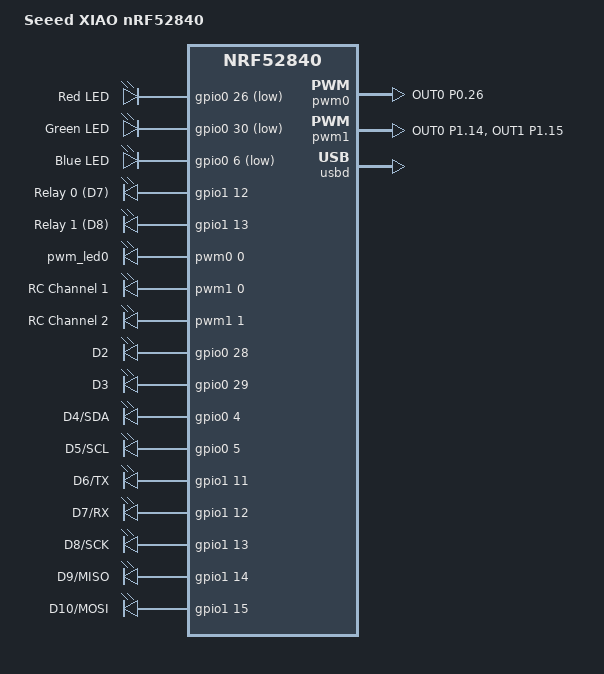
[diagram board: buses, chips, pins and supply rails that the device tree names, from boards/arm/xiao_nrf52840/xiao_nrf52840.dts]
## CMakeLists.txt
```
cmake_minimum_required(VERSION 3.20)

# Board can be set via -b flag or defaults to DK
if(NOT DEFINED BOARD)
    set(BOARD nrf52840dk_nrf52840)
endif()

# Base config + board-specific config if it exists
set(CONF_FILE "prj.conf")
if(EXISTS "${CMAKE_CURRENT_SOURCE_DIR}/boards/${BOARD}.conf")
    set(CONF_FILE "${CONF_FILE};boards/${BOARD}.conf")
endif()

set(DTC_OVERLAY_FILE "app.overlay")

find_package(Zephyr REQUIRED HINTS $ENV{ZEPHYR_BASE})
project(brewer-ble-hid-bridge VERSION 1.0.0)

# Get git hash for build identification
execute_process(
    COMMAND git rev-parse --short HEAD
    WORKING_DIRECTORY ${CMAKE_SOURCE_DIR}
    OUTPUT_VARIABLE GIT_HASH
    OUTPUT_STRIP_TRAILING_WHITESPACE
    ERROR_QUIET
)
if(NOT GIT_HASH)
    set(GIT_HASH "unknown")
endif()

# Build timestamp
string(TIMESTAMP BUILD_TIME "%Y-%m-%d %H:%M")

# Pass version info to compiler
target_compile_definitions(app PRIVATE
    APP_VERSION="${PROJECT_VERSION}"
    APP_GIT_HASH="${GIT_HASH}"
    APP_BUILD_TIME="${BUILD_TIME}"
)

target_sources(app PRIVATE
    src/main.c
    src/device_mode.c
    src/ble_hid_service.c
    src/hid_keyboard.c
    src/hid_mouse.c
    src/hid_consumer.c
    src/protocol.c
    src/security.c
    src/config.c
    src/gpio_control.c
    src/jsonl_serial.c
    src/mesh_hid.c
)

zephyr_library_include_directories(inc)
```

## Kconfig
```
# HID-HOP Application Kconfig

menu "HID-HOP Configuration"

config DEBUG_BOOT_BLINKS
	bool "Enable debug LED blinks during boot"
	default n
	help
	  Enable LED blink sequence during boot to help diagnose
	  which init stage is crashing. Adds ~10 seconds to boot time.

	  Blink pattern:
	  1 blink = PRE_KERNEL_1
	  2 blinks = PRE_KERNEL_2
	  3 blinks = POST_KERNEL
	  4 blinks = APPLICATION
	  5 blinks = main() reached

endmenu

source "Kconfig.zephyr"
```

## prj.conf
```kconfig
#
# Brewer BLE HID Bridge - Project Configuration
#

# ==========================================
# Serial Configuration - board specific
# ==========================================
# UART disabled by default (dongles have no UART)
# Add board overlay to enable for dev boards with J-Link

# ==========================================
# USB CDC ACM Serial Port (JSONL messaging)
# ==========================================
CONFIG_USB_CDC_ACM=y
CONFIG_UART_LINE_CTRL=y
CONFIG_UART_INTERRUPT_DRIVEN=y
CONFIG_RING_BUFFER=y

# ==========================================
# GPIO Configuration
# ==========================================
CONFIG_GPIO=y
CONFIG_INPUT=y
CONFIG_DK_LIBRARY=y

# ==========================================
# ADC Configuration (for analog inputs) - DISABLED for now
# ==========================================
CONFIG_ADC=n
# CONFIG_ADC_NRFX_SAADC=y

# ==========================================
# Memory Configuration
# ==========================================
CONFIG_HEAP_MEM_POOL_SIZE=16384
CONFIG_MAIN_STACK_SIZE=4096
CONFIG_SYSTEM_WORKQUEUE_STACK_SIZE=2048

# Mesh requires more connections for proxy
CONFIG_BT_MAX_CONN=2

# ==========================================
# Bluetooth Configuration
# ==========================================
CONFIG_BT=y
CONFIG_BT_PERIPHERAL=y
CONFIG_BT_OBSERVER=y
CONFIG_BT_DEVICE_NAME="HID-HOP"
CONFIG_BT_DEVICE_APPEARANCE=961
CONFIG_BT_MAX_PAIRED=3

# BLE Security - TEMPORARILY RELAXED for debugging
# TODO: Re-enable these after debugging:
# CONFIG_BT_BONDING_REQUIRED=y
# CONFIG_BT_SMP_SC_ONLY=y
CONFIG_BT_SMP=y
CONFIG_BT_BONDABLE=y
CONFIG_BT_BONDING_REQUIRED=n
CONFIG_BT_SMP_SC_ONLY=n
CONFIG_BT_FIXED_PASSKEY=n
CONFIG_BT_DEBUG_SMP=y

# BLE Settings/Storage for bonding
CONFIG_BT_SETTINGS=y
CONFIG_FLASH=y
CONFIG_FLASH_PAGE_LAYOUT=y
CONFIG_FLASH_MAP=y
CONFIG_NVS=y
CONFIG_SETTINGS=y

# GATT Configuration
CONFIG_BT_GATT_DYNAMIC_DB=y
CONFIG_BT_ATT_PREPARE_COUNT=2

# ==========================================
# BLE Mesh Configuration
# ==========================================
CONFIG_BT_MESH=y
CONFIG_BT_MESH_RELAY=y
CONFIG_BT_MESH_PB_ADV=y
CONFIG_BT_MESH_PROVISIONER=y
CONFIG_BT_MESH_GATT_PROXY=y
CONFIG_BT_MESH_PB_GATT=y

# Mesh advertising/transmit settings
CONFIG_BT_MESH_ADV_BUF_COUNT=16
CONFIG_BT_MESH_LOOPBACK_BUFS=8
CONFIG_BT_MESH_RELAY_BUF_COUNT=16
CONFIG_BT_MESH_TX_SEG_MAX=6
CONFIG_BT_MESH_RX_SEG_MAX=6
CONFIG_BT_MESH_RX_SEG_MSG_COUNT=2
CONFIG_BT_MESH_NETWORK_TRANSMIT_COUNT=3
CONFIG_BT_MESH_NETWORK_TRANSMIT_INTERVAL=20

# Mesh crypto - explicitly use TinyCrypt
CONFIG_BT_MESH_USES_TINYCRYPT=y

# Config Client for self-provisioning
CONFIG_BT_MESH_CFG_CLI=y
CONFIG_BT_MESH_CFG_CLI_TIMEOUT=2000

# Model key binding count
CONFIG_BT_MESH_MODEL_KEY_COUNT=1
CONFIG_BT_MESH_MODEL_GROUP_COUNT=1

# ==========================================
# USB HID Configuration
# ==========================================
CONFIG_USB_DEVICE_STACK=y
CONFIG_USB_DEVICE_HID=y
CONFIG_USB_HID_DEVICE_COUNT=3
CONFIG_USB_DEVICE_PRODUCT="HID-HOP"
CONFIG_USB_DEVICE_MANUFACTURER="HID-HOP"
CONFIG_USB_DEVICE_VID=0x1915
CONFIG_USB_DEVICE_PID=0x520F
CONFIG_USB_DEVICE_INITIALIZE_AT_BOOT=n
CONFIG_USB_DEVICE_REMOTE_WAKEUP=y

# Enable HID output reports (for keyboard LED state from host)
CONFIG_ENABLE_HID_INT_OUT_EP=y

# Enable boot protocol - required for reliable LED state from macOS/Windows
# Sets bInterfaceSubClass=1 for boot keyboard compatibility
CONFIG_USB_HID_BOOT_PROTOCOL=y

# ==========================================
# Crypto Configuration (E2E Encryption)
# ==========================================
CONFIG_ENTROPY_GENERATOR=y
CONFIG_ENTROPY_DEVICE_RANDOM_GENERATOR=y

# TinyCrypt for E2E encryption (AES-128-CCM)
CONFIG_TINYCRYPT=y
CONFIG_TINYCRYPT_AES=y
CONFIG_TINYCRYPT_AES_CCM=y
CONFIG_TINYCRYPT_SHA256=y

# ==========================================
# Logging Configuration
# ==========================================
CONFIG_LOG=y
CONFIG_LOG_DEFAULT_LEVEL=3
CONFIG_USE_SEGGER_RTT=y
CONFIG_LOG_BACKEND_RTT=y
CONFIG_LOG_PRINTK=y
CONFIG_USB_DRIVER_LOG_LEVEL_WRN=y
CONFIG_USB_DEVICE_LOG_LEVEL_WRN=y

# ==========================================
# Debug Configuration
# ==========================================
CONFIG_ASSERT=y
CONFIG_DEBUG_OPTIMIZATIONS=n

# ==========================================
# BLE Mesh Debug Logging (TEMPORARY)
# ==========================================
CONFIG_BT_MESH_DEBUG_NET=y
CONFIG_BT_MESH_DEBUG_TRANS=y
CONFIG_BT_MESH_DEBUG_ACCESS=y
CONFIG_BT_MESH_DEBUG_MODEL=y
CONFIG_BT_MESH_DEBUG_ADV=y
```

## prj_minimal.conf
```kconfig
# Minimal config - just boot and blink
CONFIG_GPIO=y
CONFIG_LOG=n
CONFIG_SERIAL=n
CONFIG_CONSOLE=n
CONFIG_UART_CONSOLE=n
CONFIG_BT=n
CONFIG_USB_DEVICE_STACK=n

# Bootloader settings
CONFIG_BOARD_HAS_NRF5_BOOTLOADER=y

# Use RC oscillator
CONFIG_CLOCK_CONTROL_NRF_K32SRC_RC=y
```

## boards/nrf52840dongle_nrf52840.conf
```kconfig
#
# Board-specific config for Raytac MDBT50Q-CX-40 dongle
#

# Disable console/UART (no physical UART on dongle)
CONFIG_CONSOLE=n
CONFIG_UART_CONSOLE=n
CONFIG_SERIAL=n
CONFIG_UART_ASYNC_API=n
CONFIG_UART_INTERRUPT_DRIVEN=n
CONFIG_NRFX_UARTE0=n

# Use RTT for logging
CONFIG_USE_SEGGER_RTT=y
CONFIG_LOG_BACKEND_RTT=y
CONFIG_LOG_BACKEND_UART=n
CONFIG_RTT_CONSOLE=n
CONFIG_LOG_PRINTK=y

# Bootloader settings for Open DFU
CONFIG_BOARD_HAS_NRF5_BOOTLOADER=y

# Use RC oscillator (more reliable on Raytac)
CONFIG_CLOCK_CONTROL_NRF_K32SRC_RC=y
```

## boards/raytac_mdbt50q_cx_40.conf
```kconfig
# Board-specific config for Raytac MDBT50Q-CX-40 dongle

# Enable SERIAL for USB CDC ACM (virtual UART over USB)
# No hardware UART pins exposed, but CDC ACM needs SERIAL subsystem
CONFIG_SERIAL=y

# Logging via RTT only (no hardware UART for logs)
CONFIG_LOG_BACKEND_UART=n

# Flash offset for Nordic Open DFU bootloader
CONFIG_FLASH_LOAD_OFFSET=0x1000

# Force internal RC oscillator (dongle has no external crystal)
CONFIG_CLOCK_CONTROL_NRF_K32SRC_RC=y

# Keep DK library for LED/button support
CONFIG_DK_LIBRARY=y
```

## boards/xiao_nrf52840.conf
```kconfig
# Board-specific config for Seeed XIAO nRF52840

# Enable SERIAL for USB CDC ACM (virtual UART over USB)
CONFIG_SERIAL=y

# Logging via RTT or CDC-ACM
CONFIG_LOG_BACKEND_UART=n

# Flash offset for Adafruit UF2 bootloader
CONFIG_FLASH_LOAD_OFFSET=0x27000

# XIAO has external 32kHz crystal - better accuracy than RC
CONFIG_CLOCK_CONTROL_NRF_K32SRC_XTAL=y

# Keep DK library for LED support
CONFIG_DK_LIBRARY=y

# PWM for RC servo/ESC outputs
CONFIG_PWM=y
```

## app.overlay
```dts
/*
 * HID-HOP - Device Tree Overlay
 *
 * Copyright (c) 2024
 * SPDX-License-Identifier: MIT
 */

/* Configure USB device controller with CDC ACM for debugging */
&zephyr_udc0 {
    cdc_acm_uart0 {
        compatible = "zephyr,cdc-acm-uart";
    };
};

/* Use the board's existing storage partition for NVS settings */
/ {
    chosen {
        zephyr,settings-partition = &storage_partition;
    };
};
```

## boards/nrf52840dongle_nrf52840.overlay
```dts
/*
 * Board overlay for Raytac MDBT50Q-CX-40 dongle
 * Keep it minimal - just disable what we don't need
 */

/* Disable UART - not available on dongle */
&uart0 {
    status = "disabled";
};

/* Disable CDC ACM since we're HID-only */
&zephyr_udc0 {
    cdc_acm_uart0: cdc_acm_uart0 {
        status = "disabled";
    };
};

/ {
    chosen {
        /delete-property/ zephyr,console;
        /delete-property/ zephyr,shell-uart;
        /delete-property/ zephyr,uart-mcumgr;
        /delete-property/ zephyr,bt-mon-uart;
        /delete-property/ zephyr,bt-c2h-uart;
    };
};
```

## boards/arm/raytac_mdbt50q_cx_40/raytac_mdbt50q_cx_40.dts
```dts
/dts-v1/;
#include <nordic/nrf52840_qiaa.dtsi>
#include <zephyr/dt-bindings/input/input-event-codes.h>

/ {
	model = "Raytac MDBT50Q-CX-40 USB Dongle";
	compatible = "raytac,mdbt50q-cx-40";

	chosen {
		zephyr,sram = &sram0;
		zephyr,flash = &flash0;
		zephyr,code-partition = &slot0_partition;
	};

	leds {
		compatible = "gpio-leds";
		led0: led_0 {
			gpios = <&gpio0 6 GPIO_ACTIVE_LOW>;
			label = "Blue LED 1";
		};
		led1: led_1 {
			gpios = <&gpio0 8 GPIO_ACTIVE_LOW>;
			label = "Blue LED 2";
		};
	};

	aliases {
		led0 = &led0;
		led1 = &led1;
		led2 = &led0;  /* DK library expects 4 LEDs, map to existing */
		led3 = &led1;
		sw0 = &button0;
	};

	buttons {
		compatible = "gpio-keys";
		button0: button_0 {
			gpios = <&gpio0 18 (GPIO_PULL_UP | GPIO_ACTIVE_LOW)>;
			label = "User button";
			zephyr,code = <INPUT_KEY_0>;
		};
	};
};

&flash0 {
	partitions {
		compatible = "fixed-partitions";
		#address-cells = <1>;
		#size-cells = <1>;

		/* Nordic Open DFU bootloader at 0x0-0x1000 */
		boot_partition: partition@0 {
			label = "bootloader";
			reg = <0x00000000 0x00001000>;
		};
		slot0_partition: partition@1000 {
			label = "image-0";
			reg = <0x00001000 0x000df000>;
		};
		/* Raw flash for boot-critical config (CRC32 validated) */
		config_partition: partition@e0000 {
			label = "config";
			reg = <0x000e0000 0x00001000>;
		};
		/* NVS for BLE bonding, settings, etc. */
		storage_partition: partition@e1000 {
			label = "storage";
			reg = <0x000e1000 0x0001f000>;
		};
	};
};

&gpio0 {
	status = "okay";
};

&gpio1 {
	status = "okay";
};

&gpiote {
	status = "okay";
};

zephyr_udc0: &usbd {
	compatible = "nordic,nrf-usbd";
	status = "okay";
};
```

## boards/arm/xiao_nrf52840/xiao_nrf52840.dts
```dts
/dts-v1/;
#include <nordic/nrf52840_qiaa.dtsi>
#include <zephyr/dt-bindings/input/input-event-codes.h>

/ {
	model = "Seeed XIAO nRF52840";
	compatible = "seeed,xiao-nrf52840";

	chosen {
		zephyr,sram = &sram0;
		zephyr,flash = &flash0;
		zephyr,code-partition = &slot0_partition;
		zephyr,console = &cdc_acm_uart;
	};

	leds {
		compatible = "gpio-leds";
		led0: led_0 {
			gpios = <&gpio0 26 GPIO_ACTIVE_LOW>;
			label = "Red LED";
		};
		led1: led_1 {
			gpios = <&gpio0 30 GPIO_ACTIVE_LOW>;
			label = "Green LED";
		};
		led2: led_2 {
			gpios = <&gpio0 6 GPIO_ACTIVE_LOW>;
			label = "Blue LED";
		};
	};

	aliases {
		led0 = &led0;
		led1 = &led1;
		led2 = &led2;
		led3 = &led0;  /* DK library expects 4 LEDs */
		pwm-led0 = &pwm_led0;
		relay0 = &relay_d7;
		relay1 = &relay_d8;
	};

	/* Relay outputs on D7 and D8 */
	relays {
		compatible = "gpio-leds";
		relay_d7: relay_0 {
			gpios = <&gpio1 12 GPIO_ACTIVE_HIGH>;
			label = "Relay 0 (D7)";
		};
		relay_d8: relay_1 {
			gpios = <&gpio1 13 GPIO_ACTIVE_HIGH>;
			label = "Relay 1 (D8)";
		};
	};

	/* PWM LEDs for testing PWM functionality */
	pwmleds {
		compatible = "pwm-leds";
		pwm_led0: pwm_led_0 {
			pwms = <&pwm0 0 PWM_MSEC(20) PWM_POLARITY_INVERTED>;
		};
	};

	/* RC Servo/ESC PWM outputs - directly on GPIO pins */
	rc_outputs {
		compatible = "pwm-leds";
		/* RC Channel 1 - D9/MISO (P1.14) */
		rc_ch1: rc_channel_1 {
			pwms = <&pwm1 0 PWM_MSEC(20) PWM_POLARITY_NORMAL>;
			label = "RC Channel 1";
		};
		/* RC Channel 2 - D10/MOSI (P1.15) */
		rc_ch2: rc_channel_2 {
			pwms = <&pwm1 1 PWM_MSEC(20) PWM_POLARITY_NORMAL>;
			label = "RC Channel 2";
		};
	};

	/* GPIO header - directly accessible pins */
	gpio_header: gpio_header {
		compatible = "gpio-leds";  /* Just for easy control */
		/* D2/A2 (P0.28) */
		gpio_d2: gpio_d2 {
			gpios = <&gpio0 28 GPIO_ACTIVE_HIGH>;
			label = "D2";
		};
		/* D3/A3 (P0.29) */
		gpio_d3: gpio_d3 {
			gpios = <&gpio0 29 GPIO_ACTIVE_HIGH>;
			label = "D3";
		};
		/* D4/SDA (P0.04) */
		gpio_d4: gpio_d4 {
			gpios = <&gpio0 4 GPIO_ACTIVE_HIGH>;
			label = "D4/SDA";
		};
		/* D5/SCL (P0.05) */
		gpio_d5: gpio_d5 {
			gpios = <&gpio0 5 GPIO_ACTIVE_HIGH>;
			label = "D5/SCL";
		};
		/* D6/TX (P1.11) */
		gpio_d6: gpio_d6 {
			gpios = <&gpio1 11 GPIO_ACTIVE_HIGH>;
			label = "D6/TX";
		};
		/* D7/RX (P1.12) */
		gpio_d7: gpio_d7 {
			gpios = <&gpio1 12 GPIO_ACTIVE_HIGH>;
			label = "D7/RX";
		};
		/* D8/SCK (P1.13) */
		gpio_d8: gpio_d8 {
			gpios = <&gpio1 13 GPIO_ACTIVE_HIGH>;
			label = "D8/SCK";
		};
		/* D9/MISO (P1.14) */
		gpio_d9: gpio_d9 {
			gpios = <&gpio1 14 GPIO_ACTIVE_HIGH>;
			label = "D9/MISO";
		};
		/* D10/MOSI (P1.15) */
		gpio_d10: gpio_d10 {
			gpios = <&gpio1 15 GPIO_ACTIVE_HIGH>;
			label = "D10/MOSI";
		};
	};
};

&flash0 {
	partitions {
		compatible = "fixed-partitions";
		#address-cells = <1>;
		#size-cells = <1>;

		/* UF2 bootloader (Adafruit) at 0x0-0x27000 */
		boot_partition: partition@0 {
			label = "bootloader";
			reg = <0x00000000 0x00027000>;
			read-only;
		};
		/* Application starts after bootloader */
		slot0_partition: partition@27000 {
			label = "image-0";
			reg = <0x00027000 0x000b3000>;
		};
		/* Config partition for HID-HOP settings */
		config_partition: partition@da000 {
			label = "config";
			reg = <0x000da000 0x00001000>;
		};
		/* NVS storage for BLE bonding etc */
		storage_partition: partition@db000 {
			label = "storage";
			reg = <0x000db000 0x00025000>;
		};
	};
};

&gpio0 {
	status = "okay";
};

&gpio1 {
	status = "okay";
};

&gpiote {
	status = "okay";
};

/* PWM0 - for LED control */
&pwm0 {
	status = "okay";
	pinctrl-0 = <&pwm0_default>;
	pinctrl-1 = <&pwm0_sleep>;
	pinctrl-names = "default", "sleep";
};

/* PWM1 - for RC servo/ESC outputs on D0 and D1 */
&pwm1 {
	status = "okay";
	pinctrl-0 = <&pwm1_default>;
	pinctrl-1 = <&pwm1_sleep>;
	pinctrl-names = "default", "sleep";
};

&pinctrl {
	pwm0_default: pwm0_default {
		group1 {
			psels = <NRF_PSEL(PWM_OUT0, 0, 26)>;  /* Red LED */
		};
	};
	pwm0_sleep: pwm0_sleep {
		group1 {
			psels = <NRF_PSEL(PWM_OUT0, 0, 26)>;
			low-power-enable;
		};
	};
	pwm1_default: pwm1_default {
		group1 {
			psels = <NRF_PSEL(PWM_OUT0, 1, 14)>,  /* D9/MISO - RC CH1 */
			        <NRF_PSEL(PWM_OUT1, 1, 15)>;  /* D10/MOSI - RC CH2 */
		};
	};
	pwm1_sleep: pwm1_sleep {
		group1 {
			psels = <NRF_PSEL(PWM_OUT0, 1, 14)>,
			        <NRF_PSEL(PWM_OUT1, 1, 15)>;
			low-power-enable;
		};
	};
};

zephyr_udc0: &usbd {
	compatible = "nordic,nrf-usbd";
	status = "okay";
	cdc_acm_uart: cdc_acm_uart {
		compatible = "zephyr,cdc-acm-uart";
	};
};
```

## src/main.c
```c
/*
 * Brewer BLE HID Bridge - Main Entry Point
 *
 * This firmware bridges BLE commands from an iOS app to USB HID
 * keyboard/mouse events on a connected PC.
 */

#include <zephyr/kernel.h>
#include <zephyr/init.h>
#include <zephyr/sys/reboot.h>

/*
 * Debug boot LED blinks - helps identify which init stage crashes.
 * DISABLED by default (adds ~10+ seconds to boot time).
 * To enable: add CONFIG_DEBUG_BOOT_BLINKS=y to prj.conf
 */
#ifdef CONFIG_DEBUG_BOOT_BLINKS
#define P0_OUTSET    (*(volatile uint32_t *)0x50000508)
#define P0_OUTCLR    (*(volatile uint32_t *)0x5000050C)
#define P0_DIRSET    (*(volatile uint32_t *)0x50000518)
#define P0_PIN_CNF(n) (*(volatile uint32_t *)(0x50000700 + (n)*4))
#define DBG_LED1 6
#define DBG_LED2 8

static void dbg_delay(void) {
    for (volatile int i = 0; i < 800000; i++) { __asm__("nop"); }
}

static void dbg_blink(int count) {
    for (int j = 0; j < count; j++) {
        P0_OUTCLR = (1 << DBG_LED1) | (1 << DBG_LED2);
        dbg_delay();
        P0_OUTSET = (1 << DBG_LED1) | (1 << DBG_LED2);
        dbg_delay();
    }
    /* Pause between blink sets */
    dbg_delay(); dbg_delay();
}

static int dbg_pre_kernel_1(void) {
    P0_PIN_CNF(DBG_LED1) = 3;
    P0_PIN_CNF(DBG_LED2) = 3;
    P0_DIRSET = (1 << DBG_LED1) | (1 << DBG_LED2);
    dbg_blink(1);  /* 1 blink = PRE_KERNEL_1 */
    return 0;
}
SYS_INIT(dbg_pre_kernel_1, PRE_KERNEL_1, 0);

static int dbg_pre_kernel_2(void) {
    dbg_blink(2);  /* 2 blinks = PRE_KERNEL_2 */
    return 0;
}
SYS_INIT(dbg_pre_kernel_2, PRE_KERNEL_2, 99);

static int dbg_post_kernel(void) {
    dbg_blink(3);  /* 3 blinks = POST_KERNEL */
    return 0;
}
SYS_INIT(dbg_post_kernel, POST_KERNEL, 99);

static int dbg_application(void) {
    dbg_blink(4);  /* 4 blinks = APPLICATION */
    return 0;
}
SYS_INIT(dbg_application, APPLICATION, 99);
#endif /* CONFIG_DEBUG_BOOT_BLINKS */
#include <zephyr/logging/log.h>
#include <zephyr/usb/usb_device.h>
#include <dk_buttons_and_leds.h>

#include "ble_hid_service.h"
#include "hid_keyboard.h"
#include "hid_mouse.h"
#include "hid_consumer.h"
#include "protocol.h"
#include "security.h"
#include "config.h"
#include "gpio_control.h"
#include "jsonl_serial.h"
#include "mesh_hid.h"
#include "device_mode.h"

LOG_MODULE_REGISTER(main, LOG_LEVEL_INF);

/* LED definitions */
#define STATUS_LED          DK_LED1  /* General status */
#define BLE_CONNECTED_LED   DK_LED2  /* BLE connection active */
#define USB_ACTIVE_LED      DK_LED3  /* USB HID active */
#define ERROR_LED           DK_LED4  /* Error indicator */

/* Status LED blink intervals */
#define STATUS_BLINK_IDLE_MS     1000
#define STATUS_BLINK_ACTIVE_MS   200

/* Forward declarations */
static void ble_command_handler(const uint8_t *data, size_t length);
static void button_handler(uint32_t button_state, uint32_t has_changed);
static void serial_to_ble_callback(const char *json_line, size_t len);
static void mesh_msg_handler(uint16_t src_addr, mesh_msg_type_t type,
                             const uint8_t *payload, size_t len);

/* Global state */
static bool usb_enabled = false;
static uint32_t uptime_seconds = 0;

/**
 * Get device uptime in seconds
 */
uint32_t get_uptime_seconds(void)
{
    return uptime_seconds;
}

/**
 * Check if USB is ready
 */
bool is_usb_ready(void)
{
    return usb_enabled;
}

/**
 * Initialize GPIO and LEDs
 * Note: Button init failure is non-fatal (dongle may not have buttons)
 */
static int init_gpio(void)
{
    int err;

    err = dk_leds_init();
    if (err) {
        LOG_ERR("Failed to initialize LEDs: %d", err);
        return err;
    }

    err = dk_buttons_init(button_handler);
    if (err) {
        /* Non-fatal - dongle may not have GPIO buttons */
        LOG_WRN("Button init failed: %d (continuing without buttons)", err);
    }

    /* Initial LED state - all off */
    dk_set_leds(0);

    return 0;
}

/**
 * Initialize USB HID subsystem
 */
static int init_usb(void)
{
    int err;

    /* Initialize keyboard HID device */
    if (!hid_keyboard_init()) {
        LOG_ERR("Failed to initialize HID keyboard");
        return -1;
    }

    /* Initialize mouse HID device */
    if (!hid_mouse_init()) {
        LOG_ERR("Failed to initialize HID mouse");
        return -1;
    }

    /* Initialize consumer control HID device (media keys) */
    if (!hid_consumer_init()) {
        LOG_ERR("Failed to initialize HID consumer control");
        return -1;
    }

    /* Enable USB device */
    err = usb_enable(NULL);
    if (err) {
        LOG_ERR("Failed to enable USB: %d", err);
        return err;
    }

    /* Wait for USB to be ready */
    k_sleep(K_MSEC(1000));

    usb_enabled = true;
    dk_set_led_on(USB_ACTIVE_LED);
    LOG_INF("USB HID initialized");

    return 0;
}

/**
 * Handle button presses
 * Button 1: Manual pairing mode / disconnect
 * Button 2: Reserved for future use
 */
static void button_handler(uint32_t button_state, uint32_t has_changed)
{
    if (has_changed & DK_BTN1_MSK) {
        if (button_state & DK_BTN1_MSK) {
            LOG_INF("Button 1 pressed");
            /* Could trigger pairing mode or disconnect */
            if (ble_hid_service_is_connected()) {
                LOG_INF("Disconnecting BLE...");
                ble_hid_service_disconnect();
            }
        }
    }

    if (has_changed & DK_BTN2_MSK) {
        if (button_state & DK_BTN2_MSK) {
            LOG_INF("Button 2 pressed");
            /* Reserved for future use */
        }
    }
}

/**
 * Callback for routing serial messages to BLE phone
 */
static void serial_to_ble_callback(const char *json_line, size_t len)
{
    LOG_DBG("Serial->BLE: %zu bytes", len);
    ble_hid_service_send_jsonl(json_line, len);
}

/**
 * Handle incoming mesh messages and forward to serial
 */
static void mesh_msg_handler(uint16_t src_addr, mesh_msg_type_t type,
                             const uint8_t *payload, size_t len)
{
    LOG_INF("Mesh msg from 0x%04x, type=%d, len=%zu", src_addr, type, len);

    switch (type) {
    case MESH_MSG_DISCOVERY_RESP: {
        /* Discovery response - node announced itself */
        if (len >= sizeof(mesh_discovery_t)) {
            const mesh_discovery_t *disc = (const mesh_discovery_t *)payload;
            char extra[128];
            snprintf(extra, sizeof(extra),
                "\"name\":\"%.*s\",\"caps\":\"0x%02x\"",
                disc->name_len, disc->name, disc->capabilities);
            jsonl_serial_send_mesh_event(src_addr, "mesh_discovered", extra);
        }
        break;
    }
    case MESH_MSG_HID_CMD:
        /* HID command from another node - would execute locally */
        jsonl_serial_send_mesh_event(src_addr, "mesh_hid_cmd", NULL);
        break;

    case MESH_MSG_STATUS:
        jsonl_serial_send_mesh_event(src_addr, "mesh_status_rcvd", NULL);
        break;

    default:
        LOG_DBG("Unhandled mesh msg type: %d", type);
        break;
    }
}

/**
 * Handle incoming BLE commands
 */
static void ble_command_handler(const uint8_t *data, size_t length)
{
    uint8_t response[64];
    size_t response_len;
    status_code_t status;

    LOG_HEXDUMP_DBG(data, length, "Received command");

    /* Validate minimum command size */
    if (length < sizeof(cmd_header_t)) {
        LOG_WRN("Command too short: %zu bytes", length);
        response_len = protocol_build_status(response, STATUS_ERR_INVALID_LEN, 0);
        ble_hid_service_send_response(response, response_len);
        return;
    }

    const cmd_header_t *header = (const cmd_header_t *)data;
    const uint8_t *payload = data + sizeof(cmd_header_t);

    /* Handle commands that need special responses */
    switch (header->type) {
    case CMD_PING:
        /* Send pong response */
        if (length >= sizeof(cmd_header_t) + sizeof(cmd_ping_t)) {
            response_len = protocol_build_pong(response, (const cmd_ping_t *)payload);
            ble_hid_service_send_response(response, response_len);
        }
        return;

    case CMD_GET_INFO:
        /* Send info response */
        response_len = protocol_build_info(response);
        ble_hid_service_send_response(response, response_len);
        return;

    case CMD_VERIFY_PIN:
        /* Handle PIN verification */
        LOG_INF(">>> VERIFY_PIN received, length=%zu", length);
        if (length >= sizeof(cmd_header_t) + 1) {
            const cmd_verify_pin_t *pin_cmd = (const cmd_verify_pin_t *)payload;
            LOG_INF("    PIN length from cmd: %u", pin_cmd->length);
            uint8_t attempts_left = 0;
            bool success = config_verify_pin((const char *)pin_cmd->pin, pin_cmd->length, &attempts_left);
            LOG_INF("    PIN verify result: success=%d, attempts_left=%u", success, attempts_left);
            if (success) {
                /* Start authenticated session on successful PIN */
                security_start_session();
                LOG_INF("PIN verified - session started");
            }
            response_len = protocol_build_pin_result(response, success, attempts_left);
            LOG_INF("    Sending PIN result: %zu bytes", response_len);
            bool sent = ble_hid_service_send_response(response, response_len);
            LOG_INF("    Response sent: %d", sent);
        } else {
            LOG_WRN("    VERIFY_PIN too short!");
        }
        return;

    case CMD_GET_NAME:
        /* Send name response */
        response_len = protocol_build_name_response(response);
        ble_hid_service_send_response(response, response_len);
        return;

    case CMD_GPIO_GET_LED:
    case CMD_GPIO_GET_RELAY:
    case CMD_GPIO_READ_DIN:
    case CMD_GPIO_READ_AIN:
    case CMD_GPIO_GET_ALL:
        /* Send GPIO state response */
        response_len = protocol_build_gpio_state(response);
        ble_hid_service_send_response(response, response_len);
        return;

    case CMD_GET_KBD_LEDS:
        /* Send keyboard LED state (NumLock, CapsLock, etc.) */
        response_len = protocol_build_kbd_leds_state(response);
        ble_hid_service_send_response(response, response_len);
        return;

    case CMD_RC_GET:
        /* Send single RC channel state */
        if (length >= sizeof(cmd_header_t) + sizeof(cmd_rc_get_t)) {
            const cmd_rc_get_t *rc_cmd = (const cmd_rc_get_t *)payload;
            response_len = protocol_build_rc_state(response, rc_cmd->channel);
            ble_hid_service_send_response(response, response_len);
        }
        return;

    case CMD_RC_GET_ALL:
        /* Send all RC channel states */
        response_len = protocol_build_rc_state_all(response);
        ble_hid_service_send_response(response, response_len);
        return;

    case CMD_RC_GET_MOUSE_RC:
        /* Send mouse-to-RC routing state */
        response_len = protocol_build_mouse_rc_state(response);
        ble_hid_service_send_response(response, response_len);
        return;

    case CMD_GET_MODE:
        /* Send current device mode */
        response_len = protocol_build_mode_state(response);
        ble_hid_service_send_response(response, response_len);
        return;

    case CMD_REBOOT:
        /* Send OK status before rebooting */
        response_len = protocol_build_status(response, STATUS_OK, CMD_REBOOT);
        ble_hid_service_send_response(response, response_len);
        k_msleep(100);  /* Let response send */
        sys_reboot(SYS_REBOOT_COLD);
        return;

    default:
        break;
    }

    /* Process the command */
    status = protocol_process_command(data, length);

    /* Build and send response */
    response_len = protocol_build_status(response, status, data[0]);
    ble_hid_service_send_response(response, response_len);

    /* Refresh session on successful command */
    if (status == STATUS_OK) {
        security_refresh_session();
    }
}

/**
 * Status LED update task
 */
static void status_led_task(void)
{
    static bool led_state = false;
    static int64_t last_toggle = 0;
    int64_t now = k_uptime_get();
    int blink_interval;

    /* Determine blink rate based on state */
    if (ble_hid_service_is_connected() && security_session_active()) {
        blink_interval = STATUS_BLINK_ACTIVE_MS;
    } else {
        blink_interval = STATUS_BLINK_IDLE_MS;
    }

    if (now - last_toggle >= blink_interval) {
        led_state = !led_state;
        if (led_state) {
            dk_set_led_on(STATUS_LED);
        } else {
            dk_set_led_off(STATUS_LED);
        }
        last_toggle = now;
    }
}

/**
 * Main application entry point
 */
int main(void)
{
    int err;

#ifdef CONFIG_DEBUG_BOOT_BLINKS
    /* Debug: 5 blinks = reached main() */
    dbg_blink(5);
#endif

    LOG_INF("=== HID-HOP starting ===");
    LOG_INF("Protocol version: %d.%d", PROTOCOL_VERSION_MAJOR, PROTOCOL_VERSION_MINOR);

    /* Initialize GPIO/LEDs first */
    LOG_INF("Step 1: init_gpio...");
    err = init_gpio();
    if (err) {
        LOG_ERR("GPIO init failed");
        /* Can't use dk_set_led_on if init failed */
        return err;
    }
    LOG_INF("Step 1: init_gpio DONE");

    /* Flash LED 1x = passed GPIO init */
    dk_set_led_on(STATUS_LED);
    k_sleep(K_MSEC(200));
    dk_set_led_off(STATUS_LED);
    k_sleep(K_MSEC(200));

    /* Initialize configuration storage */
    LOG_INF("Step 2: config_init...");
    if (!config_init()) {
        LOG_ERR("Config init failed");
        dk_set_led_on(ERROR_LED);
        return -1;
    }
    LOG_INF("Step 2: config_init DONE");

    /* Initialize device mode system (loads saved mode from settings) */
    device_mode_init();
    device_mode_t mode = device_mode_get();
    const device_mode_info_t *mode_info = device_mode_get_info(mode);
    LOG_INF("=== Device Mode: %s ===", mode_info->description);

    /* Flash LED 2x = passed config init */
    for (int i = 0; i < 2; i++) {
        dk_set_led_on(STATUS_LED);
        k_sleep(K_MSEC(200));
        dk_set_led_off(STATUS_LED);
        k_sleep(K_MSEC(200));
    }

    /* Initialize security module (needed for all modes with BLE) */
    LOG_INF("Step 3: security_init...");
    if (!security_init()) {
        LOG_ERR("Security init failed");
        dk_set_led_on(ERROR_LED);
        return -1;
    }
    LOG_INF("Step 3: security_init DONE");

    /* Flash LED 3x = passed security init */
    for (int i = 0; i < 3; i++) {
        dk_set_led_on(STATUS_LED);
        k_sleep(K_MSEC(200));
        dk_set_led_off(STATUS_LED);
        k_sleep(K_MSEC(200));
    }

    /* Initialize GPIO control module (for modes with GPIO or RC PWM) */
    if (device_mode_has_feature(MODE_FEAT_GPIO) || device_mode_has_feature(MODE_FEAT_RC_PWM)) {
        LOG_INF("Step 3b: gpio_control_init...");
        if (!gpio_control_init()) {
            LOG_WRN("GPIO control init failed - continuing without GPIO");
        } else {
            LOG_INF("Step 3b: gpio_control_init DONE");
        }
    }

    /* Initialize USB HID devices (only for modes that support USB HID) */
    if (device_mode_has_feature(MODE_FEAT_USB_HID)) {
        LOG_INF("Step 4: init_usb (HID)...");
        err = init_usb();
        if (err) {
            LOG_ERR("USB init failed");
            dk_set_led_on(ERROR_LED);
            return err;
        }
        LOG_INF("Step 4: init_usb DONE");
    } else if (device_mode_has_feature(MODE_FEAT_USB_CDC)) {
        /* USB CDC only (no HID) - still need to enable USB */
        LOG_INF("Step 4: init_usb (CDC only)...");
        err = usb_enable(NULL);
        if (err) {
            LOG_ERR("Failed to enable USB: %d", err);
            return err;
        }
        k_sleep(K_MSEC(500));
        usb_enabled = true;
        LOG_INF("Step 4: USB CDC enabled");
    } else {
        LOG_INF("Step 4: Skipping USB init (not needed for mode)");
    }

    /* Flash LED 4x = passed USB init */
    for (int i = 0; i < 4; i++) {
        dk_set_led_on(STATUS_LED);
        k_sleep(K_MSEC(200));
        dk_set_led_off(STATUS_LED);
        k_sleep(K_MSEC(200));
    }

    /* Initialize JSONL serial interface (only for modes with JSONL CLI) */
    if (device_mode_has_feature(MODE_FEAT_JSONL_CLI)) {
        LOG_INF("Step 5: jsonl_serial_init...");
        err = jsonl_serial_init();
        if (err) {
            LOG_WRN("JSONL serial init failed: %d (continuing without serial)", err);
        } else {
            /* Set callback for routing serial->BLE messages */
            jsonl_serial_set_ble_callback(serial_to_ble_callback);
            LOG_INF("Step 5: jsonl_serial_init DONE");
        }
    } else {
        LOG_INF("Step 5: Skipping JSONL serial (not needed for mode)");
    }

    /* Initialize BLE GATT services (needed for all modes) */
    if (device_mode_has_feature(MODE_FEAT_BLE_GATT)) {
        LOG_INF("Step 6: ble_hid_service_init...");
        if (!ble_hid_service_init(ble_command_handler)) {
            LOG_ERR("BLE init failed");
            dk_set_led_on(ERROR_LED);
            return -1;
        }
        LOG_INF("Step 6: ble_hid_service_init DONE");
    }

    /* Initialize BLE Mesh (only for modes with mesh support) */
    if (device_mode_has_feature(MODE_FEAT_BLE_MESH)) {
        LOG_INF("Step 7: mesh_hid_init...");
        err = mesh_hid_init();
        if (err) {
            LOG_ERR("Mesh init failed: %d", err);
            /* Non-fatal - continue without mesh */
        } else {
            LOG_INF("Step 7: mesh_hid_init DONE");

            /* Register mesh message callback */
            mesh_hid_set_callback(mesh_msg_handler);

            /* Self-provision as founder if not already provisioned */
            if (!mesh_hid_is_provisioned()) {
                LOG_INF("Not provisioned - self-provisioning as founder...");
                err = mesh_hid_self_provision();
                if (err && err != -EALREADY) {
                    LOG_WRN("Self-provision failed: %d", err);
                }
            } else {
                LOG_INF("Already provisioned, addr=0x%04x", mesh_hid_get_addr());
                /* Ensure app key is bound (may not be restored from NVS) */
                mesh_hid_ensure_app_key();
            }

            /* Sync device name to mesh node name for discovery */
            char device_name[MAX_DEVICE_NAME_LENGTH + 1];
            if (config_get_name(device_name) > 0) {
                mesh_hid_set_name(device_name);
                LOG_INF("Mesh node name set to: %s", device_name);
            }
        }
    } else {
        LOG_INF("Step 7: Skipping mesh init (not needed for mode)");
    }

    LOG_INF("=== Initialization complete - entering main loop ===");

    /* Main loop - just update status and track uptime */
    int64_t last_uptime_update = k_uptime_get();

    while (true) {
        /* Update status LED */
        status_led_task();

        /* Update BLE connected LED */
        if (ble_hid_service_is_connected()) {
            dk_set_led_on(BLE_CONNECTED_LED);
        } else {
            dk_set_led_off(BLE_CONNECTED_LED);
        }

        /* Check for keyboard LED state changes (NumLock/CapsLock/ScrollLock)
         * and notify BLE clients if subscribed */
        ble_hid_service_check_kbd_leds();

        /* Track uptime */
        int64_t now = k_uptime_get();
        if (now - last_uptime_update >= 1000) {
            uptime_seconds++;
            last_uptime_update = now;
        }

        /* Sleep to avoid busy loop */
        k_sleep(K_MSEC(50));
    }

    return 0;
}
```

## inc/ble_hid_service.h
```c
/*
 * Brewer BLE HID Bridge - BLE GATT Service
 */

#ifndef BLE_HID_SERVICE_H
#define BLE_HID_SERVICE_H

#include <stdbool.h>
#include <stdint.h>
#include <stddef.h>

/* Custom service UUID: f8b34000-XXXX-XXXX-XXXX-XXXXXXXXXXXX */
#define BLE_HID_SERVICE_UUID \
    BT_UUID_DECLARE_128(BT_UUID_128_ENCODE(0xf8b34000, 0x6e8b, 0x4b5a, 0x9f3e, 0x2c1d4a8e7f00))

/* Command characteristic - write to send commands */
#define BLE_HID_CMD_CHAR_UUID \
    BT_UUID_DECLARE_128(BT_UUID_128_ENCODE(0xf8b34001, 0x6e8b, 0x4b5a, 0x9f3e, 0x2c1d4a8e7f00))

/* Response characteristic - notify for responses */
#define BLE_HID_RESP_CHAR_UUID \
    BT_UUID_DECLARE_128(BT_UUID_128_ENCODE(0xf8b34002, 0x6e8b, 0x4b5a, 0x9f3e, 0x2c1d4a8e7f00))

/* Keyboard LED state characteristic - read/notify for NumLock/CapsLock/ScrollLock */
#define BLE_HID_KBD_LEDS_CHAR_UUID \
    BT_UUID_DECLARE_128(BT_UUID_128_ENCODE(0xf8b34003, 0x6e8b, 0x4b5a, 0x9f3e, 0x2c1d4a8e7f00))

/**
 * Callback type for received commands
 * @param data Command data
 * @param length Data length
 */
typedef void (*ble_hid_cmd_callback_t)(const uint8_t *data, size_t length);

/**
 * Initialize BLE subsystem and start advertising
 * @param cmd_callback Callback for received commands
 * @return true on success
 */
bool ble_hid_service_init(ble_hid_cmd_callback_t cmd_callback);

/**
 * Send response/notification to connected device
 * @param data Response data
 * @param length Data length
 * @return true on success
 */
bool ble_hid_service_send_response(const uint8_t *data, size_t length);

/**
 * Check if a device is connected
 * @return true if connected
 */
bool ble_hid_service_is_connected(void);

/**
 * Get connection RSSI (signal strength)
 * @return RSSI value or 0 if not connected
 */
int8_t ble_hid_service_get_rssi(void);

/**
 * Disconnect from current device
 */
void ble_hid_service_disconnect(void);

/**
 * Update the BLE device name
 * Note: Takes effect on next advertising cycle (after disconnect)
 * @param name New device name (max 20 chars)
 * @return true on success
 */
bool ble_hid_service_set_name(const char *name);

/**
 * Send a JSONL message to the connected phone
 * Used for routing serial messages to BLE
 * @param json_line The JSON line to send (null-terminated)
 * @param len Length of the JSON string
 * @return true on success
 */
bool ble_hid_service_send_jsonl(const char *json_line, size_t len);

/**
 * Check and notify keyboard LED state changes
 * Call this periodically from main loop to send notifications on state change.
 * Sends notification when NumLock, CapsLock, or ScrollLock state changes.
 * @return true if a notification was sent
 */
bool ble_hid_service_check_kbd_leds(void);

#endif /* BLE_HID_SERVICE_H */
```

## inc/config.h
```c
/*
 * Brewer BLE HID Bridge - Configuration Storage
 *
 * Persistent storage for device name, PIN, and other settings.
 */

#ifndef CONFIG_H
#define CONFIG_H

#include <stdint.h>
#include <stdbool.h>
#include "protocol.h"

/**
 * Initialize configuration module
 * Loads settings from persistent storage
 * @return true on success
 */
bool config_init(void);

/**
 * Get device name
 * @param name Buffer to store name (must be at least MAX_DEVICE_NAME_LENGTH + 1)
 * @return Length of name, or 0 if using default
 */
uint8_t config_get_name(char *name);

/**
 * Set device name
 * @param name New device name
 * @param length Length of name
 * @return true on success
 */
bool config_set_name(const char *name, uint8_t length);

/**
 * Check if PIN is enabled
 * @return true if PIN protection is active
 */
bool config_pin_enabled(void);

/**
 * Get current PIN (for key derivation)
 * @param pin Buffer to store PIN (must be at least MAX_PIN_LENGTH + 1)
 * @return Length of PIN, or 0 if not set
 */
uint8_t config_get_pin(char *pin);

/**
 * Set PIN
 * @param pin PIN digits (ASCII)
 * @param length PIN length
 * @return true on success
 */
bool config_set_pin(const char *pin, uint8_t length);

/**
 * Clear PIN (disable PIN protection)
 * @return true on success
 */
bool config_clear_pin(void);

/**
 * Verify PIN
 * @param pin PIN to verify
 * @param length PIN length
 * @param attempts_left Output: remaining attempts before lockout
 * @return true if PIN matches
 */
bool config_verify_pin(const char *pin, uint8_t length, uint8_t *attempts_left);

/**
 * Reset failed attempt counter (called after successful PIN entry)
 */
void config_reset_attempts(void);

/**
 * Check if device is locked out due to too many failed attempts
 * @return true if locked out
 */
bool config_is_locked_out(void);

/**
 * Reset all configuration to defaults
 */
void config_reset_defaults(void);

/**
 * Get mouse-to-RC routing enabled state
 * @return true if mouse commands should route to RC PWM outputs
 */
bool config_get_mouse_to_rc(void);

/**
 * Set mouse-to-RC routing enabled state
 * @param enabled true to enable, false to disable
 * @return true on success
 */
bool config_set_mouse_to_rc(bool enabled);

/**
 * Get the persisted default host OS for Unicode injection.
 * Used when CMD_KEYBOARD_UNICODE is sent with os_mode = HOST_OS_DEFAULT (0xFF).
 * @return host_os_t value (defaults to HOST_OS_LINUX_IBUS)
 */
uint8_t config_get_default_host_os(void);

/**
 * Set the persisted default host OS for Unicode injection.
 * @param os_mode host_os_t (LINUX_IBUS / MACOS_HEX / WINDOWS_HEX)
 * @return true on success
 */
bool config_set_default_host_os(uint8_t os_mode);

#endif /* CONFIG_H */
```

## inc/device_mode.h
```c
/*
 * HID-HOP Device Mode System
 *
 * Runtime-selectable operating modes for different use cases.
 * All modes share common BLE GATT config service for mode switching.
 *
 * Copyright (c) 2025 Nathan Brewer
 */

#ifndef DEVICE_MODE_H
#define DEVICE_MODE_H

#include <stdint.h>
#include <stdbool.h>

/**
 * Device operating modes
 *
 * Each mode optimizes for different use cases:
 * - HID: USB keyboard/mouse with BLE mesh (default, app-compatible)
 * - MESH: Full mesh node with JSONL CLI, no USB HID
 * - TUNNEL: Point-to-point BLE serial bridge (no mesh, max speed)
 * - RC: BLE joystick to PWM outputs (low latency RC control)
 */
typedef enum {
    DEVICE_MODE_HID = 0,      /* Default: USB HID + BLE mesh (current app behavior) */
    DEVICE_MODE_MESH = 1,     /* Mesh node: JSONL CLI + mesh relay, no USB HID */
    DEVICE_MODE_TUNNEL = 2,   /* Serial tunnel: point-to-point BLE, ~115200 baud */
    DEVICE_MODE_RC = 3,       /* RC controller: BLE GATT -> PWM, lowest latency */
    DEVICE_MODE_COUNT
} device_mode_t;

/**
 * Mode feature flags (what each mode supports)
 */
#define MODE_FEAT_USB_HID       (1 << 0)  /* USB HID keyboard/mouse */
#define MODE_FEAT_USB_CDC       (1 << 1)  /* USB CDC serial (JSONL or raw) */
#define MODE_FEAT_BLE_MESH      (1 << 2)  /* BLE Mesh networking */
#define MODE_FEAT_BLE_GATT      (1 << 3)  /* BLE GATT services */
#define MODE_FEAT_GPIO          (1 << 4)  /* GPIO control (LEDs, buttons) */
#define MODE_FEAT_RC_PWM        (1 << 5)  /* RC PWM outputs */
#define MODE_FEAT_JSONL_CLI     (1 << 6)  /* JSONL command interface */
#define MODE_FEAT_CONFIG_GATT   (1 << 7)  /* Config GATT service (always on) */

/**
 * Mode configuration structure
 */
typedef struct {
    device_mode_t mode;
    const char *name;
    const char *description;
    uint8_t features;
} device_mode_info_t;

/**
 * Mode feature matrix
 *
 * MODE_HID:    USB HID + CDC(JSONL) + Mesh + GATT + GPIO + RC
 * MODE_MESH:   CDC(JSONL) + Mesh + GATT + GPIO + RC (no USB HID)
 * MODE_TUNNEL: CDC(raw) + GATT (point-to-point BLE, no mesh)
 * MODE_RC:     GATT + RC PWM (direct BLE->PWM, lowest latency)
 */
static const device_mode_info_t device_modes[DEVICE_MODE_COUNT] = {
    [DEVICE_MODE_HID] = {
        .mode = DEVICE_MODE_HID,
        .name = "hid",
        .description = "USB HID + BLE Mesh (default)",
        .features = MODE_FEAT_USB_HID | MODE_FEAT_USB_CDC | MODE_FEAT_BLE_MESH |
                    MODE_FEAT_BLE_GATT | MODE_FEAT_GPIO | MODE_FEAT_RC_PWM |
                    MODE_FEAT_JSONL_CLI | MODE_FEAT_CONFIG_GATT,
    },
    [DEVICE_MODE_MESH] = {
        .mode = DEVICE_MODE_MESH,
        .name = "mesh",
        .description = "Mesh node with JSONL CLI (no USB HID)",
        .features = MODE_FEAT_USB_CDC | MODE_FEAT_BLE_MESH | MODE_FEAT_BLE_GATT |
                    MODE_FEAT_GPIO | MODE_FEAT_RC_PWM | MODE_FEAT_JSONL_CLI |
                    MODE_FEAT_CONFIG_GATT,
    },
    [DEVICE_MODE_TUNNEL] = {
        .mode = DEVICE_MODE_TUNNEL,
        .name = "tunnel",
        .description = "Serial tunnel over BLE (point-to-point)",
        .features = MODE_FEAT_USB_CDC | MODE_FEAT_BLE_GATT | MODE_FEAT_CONFIG_GATT,
    },
    [DEVICE_MODE_RC] = {
        .mode = DEVICE_MODE_RC,
        .name = "rc",
        .description = "RC controller (BLE -> PWM)",
        .features = MODE_FEAT_BLE_GATT | MODE_FEAT_RC_PWM | MODE_FEAT_CONFIG_GATT,
    },
};

/**
 * Get current device mode
 * @return Current mode
 */
device_mode_t device_mode_get(void);

/**
 * Set device mode (takes effect after reboot)
 * @param mode New mode
 * @return 0 on success, negative on error
 */
int device_mode_set(device_mode_t mode);

/**
 * Get mode info by mode enum
 * @param mode Mode to query
 * @return Pointer to mode info, or NULL if invalid
 */
const device_mode_info_t *device_mode_get_info(device_mode_t mode);

/**
 * Get mode by name string
 * @param name Mode name (e.g., "hid", "tunnel")
 * @return Mode enum, or DEVICE_MODE_HID if not found
 */
device_mode_t device_mode_from_name(const char *name);

/**
 * Check if current mode has a feature
 * @param feature Feature flag (MODE_FEAT_*)
 * @return true if feature is enabled in current mode
 */
bool device_mode_has_feature(uint8_t feature);

/**
 * Initialize device mode system (call early in boot)
 * Loads mode from config storage
 */
void device_mode_init(void);

/**
 * Get mode name string
 * @param mode Mode to query
 * @return Mode name string
 */
static inline const char *device_mode_name(device_mode_t mode) {
    if (mode < DEVICE_MODE_COUNT) {
        return device_modes[mode].name;
    }
    return "unknown";
}

#endif /* DEVICE_MODE_H */
```

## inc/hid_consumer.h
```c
/*
 * Brewer BLE HID Bridge - USB HID Consumer Control (Media Keys)
 */

#ifndef HID_CONSUMER_H
#define HID_CONSUMER_H

#include <stdbool.h>
#include <stdint.h>

/* Consumer Control Usage IDs (from USB HID Usage Tables) */
typedef enum {
    CONSUMER_PLAY_PAUSE     = 0x00CD,
    CONSUMER_NEXT_TRACK     = 0x00B5,
    CONSUMER_PREV_TRACK     = 0x00B6,
    CONSUMER_STOP           = 0x00B7,
    CONSUMER_VOLUME_UP      = 0x00E9,
    CONSUMER_VOLUME_DOWN    = 0x00EA,
    CONSUMER_MUTE           = 0x00E2,
    CONSUMER_BRIGHTNESS_UP  = 0x006F,
    CONSUMER_BRIGHTNESS_DN  = 0x0070,
    CONSUMER_EJECT          = 0x00B8,
} consumer_usage_t;

/**
 * Initialize USB HID consumer control device
 * @return true on success
 */
bool hid_consumer_init(void);

/**
 * Send a consumer control key press (and auto-release)
 * @param usage_id Consumer control usage ID (e.g., CONSUMER_PLAY_PAUSE)
 * @return true on success
 */
bool hid_consumer_send(uint16_t usage_id);

/**
 * Press a consumer control key (hold until release called)
 * @param usage_id Consumer control usage ID
 * @return true on success
 */
bool hid_consumer_press(uint16_t usage_id);

/**
 * Release all consumer control keys
 * @return true on success
 */
bool hid_consumer_release(void);

#endif /* HID_CONSUMER_H */
```

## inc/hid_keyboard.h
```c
/*
 * Brewer BLE HID Bridge - USB HID Keyboard
 */

#ifndef HID_KEYBOARD_H
#define HID_KEYBOARD_H

#include <stdbool.h>
#include <stdint.h>
#include <stddef.h>

/**
 * Initialize USB HID keyboard device
 * @return true on success
 */
bool hid_keyboard_init(void);

/**
 * Type a string of ASCII characters
 * @param text ASCII text to type
 * @param length Length of text
 * @return true if all characters sent successfully
 */
bool hid_keyboard_type(const char *text, size_t length);

/**
 * Send a single key press with modifiers
 * @param keycode HID keycode
 * @param modifiers Modifier flags
 * @return true on success
 */
bool hid_keyboard_key_press(uint8_t keycode, uint8_t modifiers);

/**
 * Release all keys
 * @return true on success
 */
bool hid_keyboard_release_all(void);

/**
 * Send a key combination (press all, release all)
 * @param keycodes Array of HID keycodes
 * @param count Number of keys (max 6)
 * @param modifiers Modifier flags
 * @return true on success
 */
bool hid_keyboard_combo(const uint8_t *keycodes, uint8_t count, uint8_t modifiers);

/**
 * Tap a key (press and release)
 * @param keycode HID keycode
 * @param modifiers Modifier flags
 * @return true on success
 */
bool hid_keyboard_tap(uint8_t keycode, uint8_t modifiers);

/**
 * Inject Unicode code point(s) using the host OS's native Unicode-entry method.
 * Holds modifiers across multi-key sequences (e.g. Option held while typing the
 * hex digits on macOS) and splits supplementary-plane code points into UTF-16
 * surrogate pairs where the host method requires it (macOS).
 *
 * Best-effort and host-context dependent: requires an active Unicode input
 * method (IBus / Unicode Hex Input layout / WinCompose|EnableHexNumpad). Does
 * NOT work in a bare terminal/TTY.
 *
 * @param os_mode    host_os_t (LINUX_IBUS / MACOS_HEX / WINDOWS_HEX)
 * @param codepoints Array of Unicode scalar values
 * @param count      Number of code points (entered as one grapheme cluster)
 * @return true on success
 */
bool hid_keyboard_send_unicode(uint8_t os_mode, const uint32_t *codepoints, uint8_t count);

/**
 * Convert ASCII character to HID keycode
 * @param ascii ASCII character
 * @param keycode Output keycode
 * @param needs_shift Output: true if shift is needed
 * @return true if character is supported
 */
bool ascii_to_hid_keycode(uint8_t ascii, uint8_t *keycode, bool *needs_shift);

/**
 * Get current keyboard LED state from host PC
 * @return LED state bitmask:
 *         Bit 0: NumLock
 *         Bit 1: CapsLock
 *         Bit 2: ScrollLock
 *         Bit 3: Compose
 *         Bit 4: Kana
 */
uint8_t hid_keyboard_get_led_state(void);

/**
 * Check if NumLock is active on host
 */
bool hid_keyboard_numlock_on(void);

/**
 * Check if CapsLock is active on host
 */
bool hid_keyboard_capslock_on(void);

/**
 * Check if ScrollLock is active on host
 */
bool hid_keyboard_scrolllock_on(void);

/**
 * Check and clear LED state changed flag
 * @return true if LED state changed since last check
 */
bool hid_keyboard_led_state_changed(void);

/* LED state bit definitions */
#define HID_LED_NUMLOCK     (1 << 0)
#define HID_LED_CAPSLOCK    (1 << 1)
#define HID_LED_SCROLLLOCK  (1 << 2)
#define HID_LED_COMPOSE     (1 << 3)
#define HID_LED_KANA        (1 << 4)

#endif /* HID_KEYBOARD_H */
```
